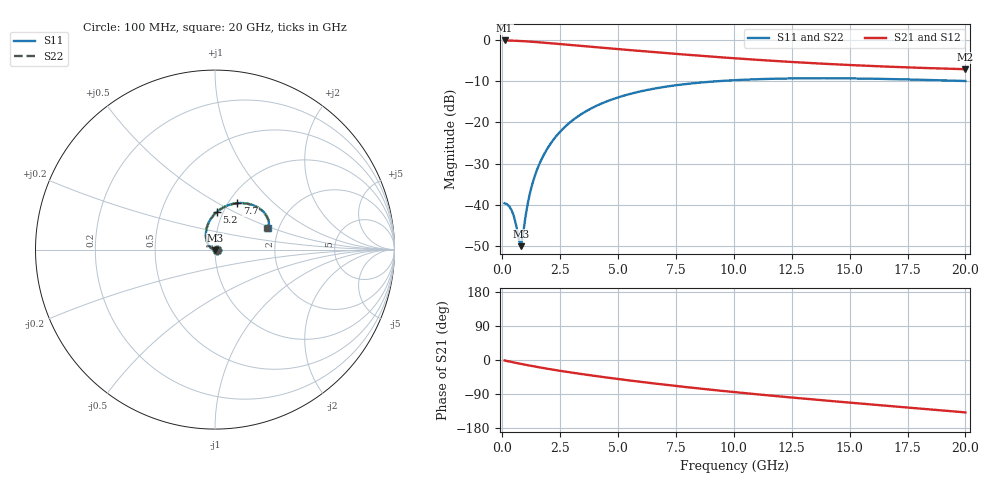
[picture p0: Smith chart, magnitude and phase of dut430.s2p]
! Touchstone file exported from HFSS 2024.1.0
!  File:  C:/UserFiles/LocalFiles/RDL_TSV_Batchsim/temp_RDL_TSV_430_1779719647.aedt
!  Generated:  10:51:59 PM May 25, 2026
!  Design:  RDL_TSV
!  Project:  temp_RDL_TSV_430_1779719647
!  Setup:  Setup1
!  Solution:  Sweep
! Variables:
!  dtsv = 8.06um
!  hbump = 3um
!  htsv = 80.08um
!  ldown = 343.17um
!  lrdl = 173.49um
!  p = 40
!  p1 = 56.25um
!  rhole = 10um
!  subl = 1723.47um
!  t = 450um
!  tdown = 2.71um
!  trdl = 2.71um
!  viad = 10um
!  wdown = 27.21um
!  wrdl = 21.51um
!  xbump = 18um
# GHz S MA R 50.000000
! Terminal data exported
! Port[1] = TM1_1_T1
! Port[2] = TM1_4_T1
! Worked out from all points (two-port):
!   200 points, 100 MHz to 20 GHz, reference 50 ohm
!   highest |S21| = -0.09 dB at 100 MHz (marker M1); lowest = -7.1 dB at 20 GHz (marker M2)
!   |S21| within 3 dB of the highest: start of sweep to 6.93 GHz
!   lowest |S11| = -50.1 dB at 800 MHz (marker M3), VSWR 1.01, Z = 49.9 - j0.305 ohm
!   |S11| at or under -10 dB: start of sweep to 9.283 GHz
!   |S22| runs from -50.0 to -9.3 dB; largest |S21 - S12| = 8.5e-15
!   S11 on the Smith chart (normalised r, x): 100 MHz: 1.02, -0.00; 5.2 GHz: 0.93, +0.41; 7.7 GHz: 1.10, +0.62; 20 GHz: 1.75, +0.48
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0.1  0.01041 -2.6  0.9891 -1.3  0.9891 -1.3  0.01041 -2.6
! Gamma 0 0 0 0
! Port Impedance 50 0 50 0
0.3  0.009548 -10.6  0.9865 -3.9  0.9865 -3.9  0.009556 -10.7
0.5  0.007241 -24.5  0.9823 -6.4  0.9823 -6.4  0.007261 -24.6
0.6  0.005614 -36.5  0.9797 -7.7  0.9797 -7.7  0.005643 -36.4
0.7  0.003949 -58.5  0.9767 -8.9  0.9767 -8.9  0.003983 -58.2
0.8  0.003132 -103.1  0.9735 -10.1  0.9735 -10.1  0.003148 -102.3
0.9  0.004425 -147.9  0.97 -11.4  0.97 -11.4  0.004399 -147.2
1  0.007098 -169.9  0.9662 -12.5  0.9662 -12.5  0.007044 -169.4
1.1  0.01038 178.5  0.9621 -13.7  0.9621 -13.7  0.0103 178.8
1.2  0.01403 170.9  0.9579 -14.9  0.9579 -14.9  0.01393 171.1
1.4  0.02214 160.6  0.9489 -17.2  0.9489 -17.2  0.02201 160.7
1.7  0.03581 149.7  0.9344 -20.5  0.9344 -20.5  0.03562 149.8
2.1  0.05589 138.5  0.9141 -24.6  0.9141 -24.6  0.05563 138.6
2.5  0.07712 129.2  0.8935 -28.6  0.8935 -28.6  0.07678 129.2
3.5  0.1304 110.5  0.8439 -37.7  0.8439 -37.7  0.1299 110.5
5.2  0.2092 87.4  0.7681 -51.7  0.7681 -51.7  0.2084 87.4
6.8  0.2641 71.6  0.705 -63.6  0.705 -63.6  0.2631 71.6
7.7  0.2872 64.4  0.6728 -69.9  0.6728 -69.9  0.2861 64.4
10.1  0.3264 49.3  0.5989 -85.2  0.5989 -85.2  0.3252 49.2
13.4  0.3435 35.3  0.5242 -104.0  0.5242 -104.0  0.3422 35.2
16.7  0.3363 26.8  0.4747 -121.3  0.4747 -121.3  0.3349 26.7
20  0.318 22.7  0.4425 -138.3  0.4425 -138.3  0.3168 22.6
